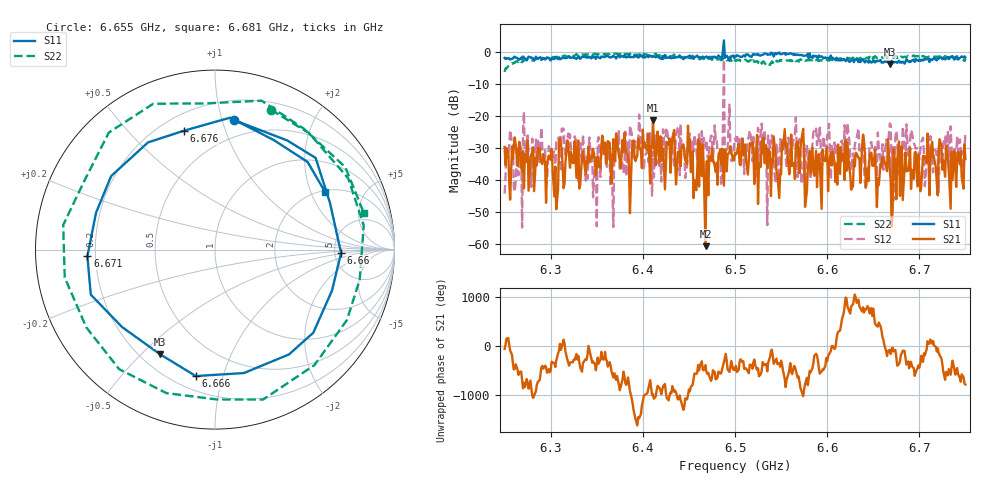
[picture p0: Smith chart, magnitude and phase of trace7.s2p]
# Hz S RI R 50
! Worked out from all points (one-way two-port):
!   401 points, 6.25 GHz to 6.75 GHz, reference 50 ohm
!   highest |S21| = -21.11 dB at 6.411 GHz (marker M1); lowest = -60.5 dB at 6.468 GHz (marker M2)
!   lowest |S11| = -3.6 dB at 6.668 GHz (marker M3), VSWR 4.85, Z = 13.8 - j28.4 ohm
!   |S11| at or under -10 dB: nowhere
!   |S22| runs from -6.1 to -0.2 dB; largest |S21 - S12| = 0.77
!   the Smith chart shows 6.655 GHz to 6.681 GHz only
!   S11 on the Smith chart (normalised r, x): 6.655 GHz: 0.36, +1.10; 6.66 GHz: 5.70, -0.42; 6.666 GHz: 0.29, -0.82; 6.671 GHz: 0.17, -0.03; 6.676 GHz: 0.29, +0.73; 6.681 GHz: 2.08, +2.55
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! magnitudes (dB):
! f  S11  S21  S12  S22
! 6.25 GHz  -1.8  -29.6  -44.1  -6.1
! 6.255 GHz  -1.8  -40.6  -29.0  -4.0
! 6.262 GHz  -1.6  -28.7  -40.3  -2.9
! 6.272 GHz  -1.9  -31.9  -33.2  -2.3
! 6.294 GHz  -2.2  -34.6  -30.5  -1.8
! 6.334 GHz  -1.4  -32.6  -34.3  -0.4
! 6.348 GHz  -1.3  -33.3  -34.1  -0.4
! 6.394 GHz  -1.3  -32.2  -27.9  -0.8
! 6.411 GHz  -1.2  -21.1  -30.9  -0.7
! 6.418 GHz  -1.8  -34.5  -35.5  -1.1
! 6.468 GHz  -1.5  -60.5  -29.6  -2.5
! 6.5 GHz  -1.2  -31.4  -27.0  -2.6
! 6.584 GHz  -1.8  -29.8  -28.8  -2.4
! 6.642 GHz  -2.7  -42.3  -42.7  -1.9
! 6.655 GHz  -2.7  -39.3  -25.1  -1.5
! 6.66 GHz  -3.1  -32.7  -28.7  -1.7
! 6.666 GHz  -2.9  -27.2  -29.0  -1.5
! 6.668 GHz  -3.6  -36.5  -22.2  -1.4
! 6.671 GHz  -3.0  -49.6  -29.0  -1.3
! 6.676 GHz  -3.3  -33.6  -27.2  -1.8
! 6.681 GHz  -3.2  -29.3  -36.9  -1.4
! 6.75 GHz  -1.6  -33.3  -25.0  -2.0
